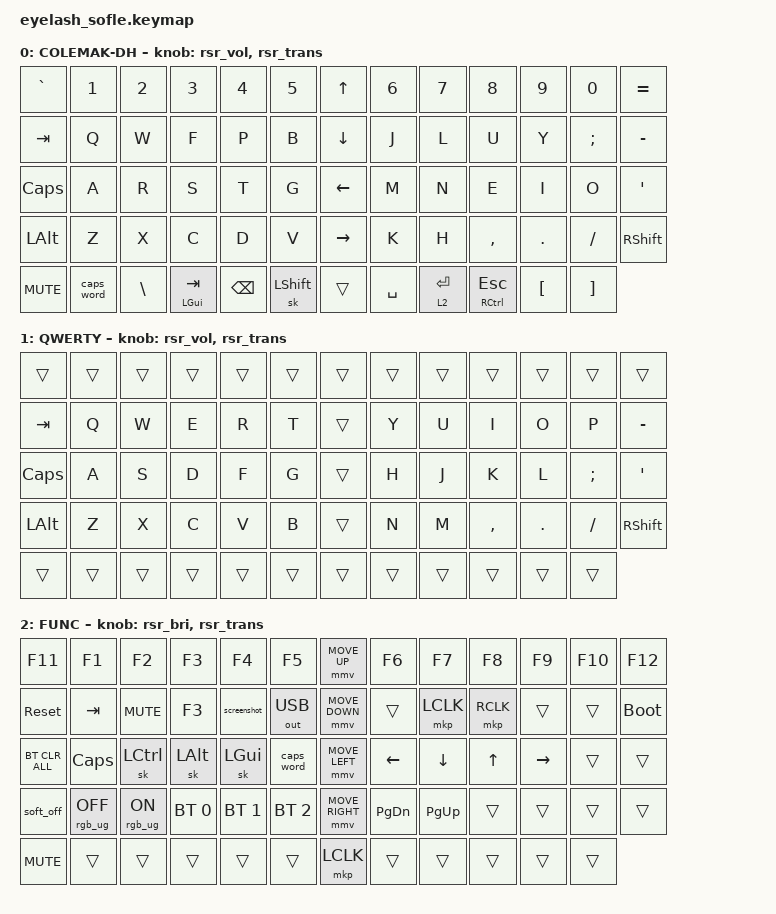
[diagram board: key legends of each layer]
#define ZMK_POINTING_DEFAULT_MOVE_VAL 1200  // 600
#define ZMK_POINTING_DEFAULT_SCRL_VAL 25   // 10

#include <input/processors.dtsi>
#include <zephyr/dt-bindings/input/input-event-codes.h>
#include <behaviors.dtsi>
#include <behaviors/runtime-sensor-rotate.dtsi>
#include <dt-bindings/zmk/bt.h>
#include <dt-bindings/zmk/keys.h>
#include <dt-bindings/zmk/outputs.h>
#include <dt-bindings/zmk/pointing.h>
#include <dt-bindings/zmk/rgb.h>

&mmv_input_listener { input-processors = <&zip_xy_scaler 2 1>; };

&msc_input_listener { input-processors = <&zip_scroll_scaler 2 1>; };

&msc {
    acceleration-exponent = <1>;      // 0
    time-to-max-speed-ms = <100>;       // 300
    delay-ms = <0>;                   // 0
};

&mmv {
    time-to-max-speed-ms = <500>;
    acceleration-exponent = <1>;
    trigger-period-ms = <16>;
};

&soft_off { hold-time-ms = <2000>; };

/ {
    scroll_encoder: scroll_encoder {
        compatible = "zmk,behavior-sensor-rotate";
        #sensor-binding-cells = <0>;
        bindings = <&msc SCRL_DOWN>, <&msc SCRL_UP>;

        tap-ms = <100>;
    };

    behaviors {
        rsr_vol: rsr_vol {
            compatible = "zmk,behavior-runtime-sensor-rotate";
            #sensor-binding-cells = <0>;
            tap-ms = <5>;
            cw-binding = <&kp C_VOL_UP>;
            ccw-binding = <&kp C_VOL_DN>;
        };

        rsr_trans: rsr_trans {
            compatible = "zmk,behavior-runtime-sensor-rotate";
            #sensor-binding-cells = <0>;
            tap-ms = <0>;
        };

        rsr_bri: rsr_bri {
            compatible = "zmk,behavior-runtime-sensor-rotate";
            #sensor-binding-cells = <0>;
            tap-ms = <5>;
            cw-binding = <&kp C_BRI_UP>;
            ccw-binding = <&kp C_BRI_DN>;
        };

        ht: ht {
            compatible = "zmk,behavior-hold-tap";
            display-name = "Hold Tap";
            #binding-cells = <2>;
            flavor = "balanced";
            tapping-term-ms = <150>;
            require-prior-idle-ms = <125>;
            bindings = <&kp>, <&kp>;
        };

        mo_tog: mo_tog {
            compatible = "zmk,behavior-hold-tap";
            display-name = "Momentary/Toggle Layer Hold Tap";
            #binding-cells = <2>;
            flavor = "balanced";
            tapping-term-ms = <150>;
            bindings = <&mo>, <&tog>;
        };
    };

    combos {
        compatible = "zmk,combos";

        softoff {
            bindings = <&soft_off>;
            key-positions = <14 28 40>;
        };

        toggle_qwerty {
            bindings = <&tog 1>;
            key-positions = <57 59>;
        };
    };

    macros {
        screenshot: screenshot {
            compatible = "zmk,behavior-macro";
            #binding-cells = <0>;
            bindings = <&kp LG(LS(N4))>;
        };

        cmd_click: cmd_click {
            compatible = "zmk,behavior-macro";
            #binding-cells = <0>;
            bindings =
                <&macro_press &kp LGUI>,
                <&macro_tap &mkp LCLK>,
                <&macro_release &kp LGUI>;
            label = "CMD_CLICK";
        };

        SHIFT_MCLK: SHIFT_MCLK {
            compatible = "zmk,behavior-macro";
            #binding-cells = <0>;
            bindings =
                <&macro_press>,
                <&kp LEFT_SHIFT>,
                <&macro_press>,
                <&mkp MB3>,
                <&macro_pause_for_release>,
                <&macro_release>,
                <&kp LEFT_SHIFT &mkp MB3>;

            label = "SHIFT_MCLK";
        };
    };

    keymap {
        compatible = "zmk,keymap";

        layer0 {
            bindings = <
&kp GRAVE      &kp N1       &kp N2      &kp N3      &kp N4     &kp N5        &kp UP_ARROW     &kp N6     &kp N7       &kp N8          &kp N9     &kp N0    &kp EQUAL
&kp TAB        &kp Q        &kp W       &kp F       &kp P      &kp B         &kp DOWN_ARROW   &kp J      &kp L        &kp U           &kp Y      &kp SEMI  &kp MINUS
&kp CAPS       &kp A        &kp R       &kp S       &kp T      &kp G         &kp LEFT_ARROW   &kp M      &kp N        &kp E           &kp I      &kp O     &kp APOS
&kp LALT       &kp Z        &kp X       &kp C       &kp D      &kp V         &kp RIGHT_ARROW  &kp K      &kp H        &kp COMMA       &kp DOT    &kp FSLH  &kp RSHFT
&kp C_MUTE     &caps_word   &kp BSLH    &ht LGUI TAB &kp BSPC  &sk LSHFT     &trans           &kp SPACE  &lt 2 ENTER  &ht RCTRL ESC   &kp LBKT   &kp RBKT
            >;

            sensor-bindings = <&rsr_vol &rsr_trans>;
            display-name = "COLEMAK-DH";
        };

        qwerty {
            bindings = <
&trans         &trans       &trans      &trans       &trans      &trans        &trans           &trans     &trans       &trans           &trans      &trans    &trans
&kp TAB        &kp Q        &kp W       &kp E        &kp R       &kp T         &trans           &kp Y      &kp U        &kp I            &kp O       &kp P     &kp MINUS
&kp CAPS       &kp A        &kp S       &kp D        &kp F       &kp G         &trans           &kp H      &kp J        &kp K            &kp L       &kp SEMI  &kp APOS
&kp LALT       &kp Z        &kp X       &kp C        &kp V       &kp B         &trans           &kp N      &kp M        &kp COMMA        &kp DOT     &kp FSLH  &kp RSHFT
&trans         &trans       &trans      &trans       &trans      &trans        &trans           &trans     &trans       &trans           &trans      &trans
            >;

            sensor-bindings = <&rsr_vol &rsr_trans>;
            display-name = "QWERTY";
        };

        function_layer {
            bindings = <
&kp F11        &kp F1           &kp F2          &kp F3         &kp F4        &kp F5         &mmv MOVE_UP     &kp F6      &kp F7     &kp F8     &kp F9     &kp F10    &kp F12
&sys_reset     &kp TAB          &kp C_MUTE      &kp F3         &screenshot   &out OUT_USB   &mmv MOVE_DOWN   &trans      &mkp LCLK  &mkp RCLK  &trans     &trans     &bootloader
&bt BT_CLR_ALL &kp CAPS         &sk LCTRL       &sk LALT       &sk LGUI      &caps_word     &mmv MOVE_LEFT   &kp LEFT    &kp DOWN   &kp UP     &kp RIGHT  &trans     &trans
&soft_off      &rgb_ug RGB_OFF  &rgb_ug RGB_ON  &bt BT_SEL 0   &bt BT_SEL 1  &bt BT_SEL 2   &mmv MOVE_RIGHT  &kp PG_DN   &kp PG_UP  &trans     &trans     &trans     &trans
&kp C_MUTE  &trans           &trans          &trans           &trans        &trans         &mkp LCLK        &trans      &trans     &trans     &trans         &trans
            >;

            sensor-bindings = <&rsr_bri &rsr_trans>;
            display-name = "FUNC";
        };
    };
};
